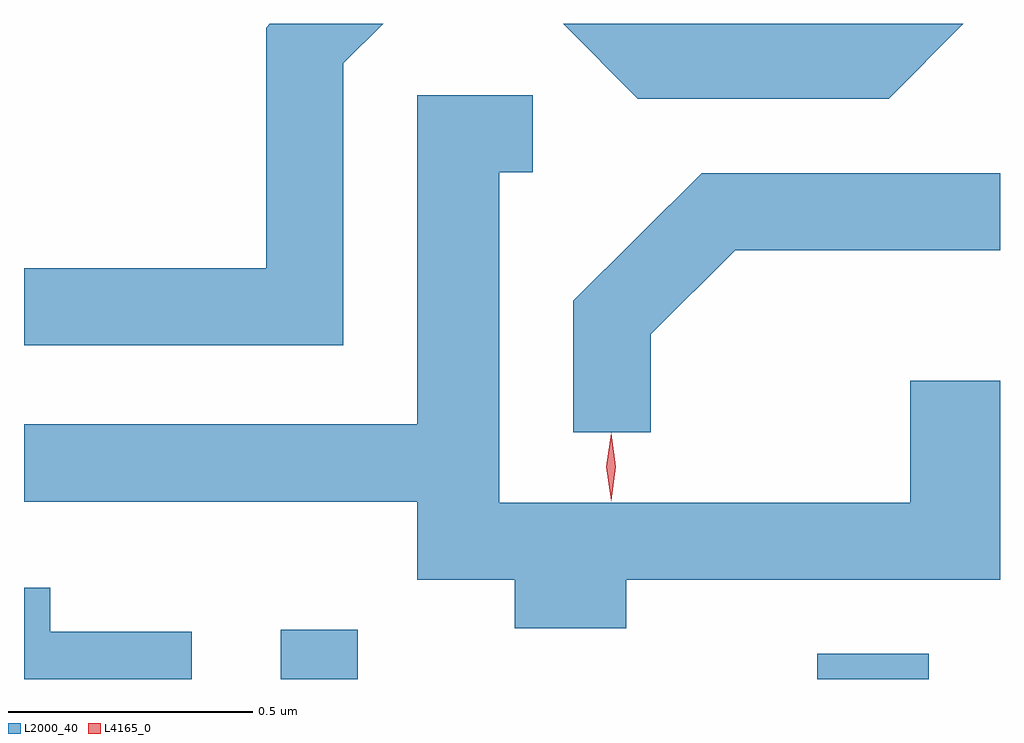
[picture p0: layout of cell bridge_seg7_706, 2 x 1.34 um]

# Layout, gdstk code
import gdstk
lib = gdstk.Library(unit=1e-6, precision=1e-09)
def R(c, l, rs):  # rectangles x0, y0, x1, y1
    for r in rs: c.add(gdstk.rectangle(r[:2], r[2:], *l))
def P(c, l, *ps):  # polygons
    for p in ps: c.add(gdstk.Polygon(p, *l))
L2000_40 = (2000, 40)
L4165_0 = (4165, 0)

bridge_seg7_706 = lib.new_cell('bridge_seg7_706')
R(bridge_seg7_706, L2000_40, [(1034.141,1668.252,1034.299,1668.353), (1035.241,1668.252,1035.469,1668.304)])
P(bridge_seg7_706, L2000_40, [(1034.269,1669.514),(1034.351,1669.595),(1034.119,1669.595),(1034.111,1669.587),(1034.111,1669.094),(1033.615,1669.094),(1033.615,1668.936),(1034.269,1668.936)],
  [(1035.54,1669.595),(1034.72,1669.595),(1034.873,1669.441),(1035.387,1669.441)],
  [(1034.849,1668.456),(1035.615,1668.456),(1035.615,1668.864),(1035.431,1668.864),(1035.431,1668.614),(1034.589,1668.614),(1034.589,1669.291),(1034.658,1669.291),(1034.658,1669.449),(1034.421,1669.449),(1034.421,1668.774),(1033.615,1668.774),(1033.615,1668.616),(1034.421,1668.616),(1034.421,1668.456),(1034.621,1668.456),(1034.621,1668.356),(1034.849,1668.356)],
  [(1034.899,1668.959),(1035.072,1669.131),(1035.615,1669.131),(1035.615,1669.289),(1035.004,1669.289),(1034.741,1669.027),(1034.741,1668.758),(1034.899,1668.758)],
  [(1033.959,1668.349),(1033.669,1668.349),(1033.669,1668.439),(1033.615,1668.439),(1033.615,1668.252),(1033.959,1668.252)])
P(bridge_seg7_706, L4165_0, [(1034.818,1668.617),(1034.818,1668.618),(1034.808,1668.687),(1034.818,1668.756),(1034.818,1668.757),(1034.818,1668.756),(1034.828,1668.687),(1034.818,1668.618)])

lib.write_gds('bridge_seg7_706.gds')
